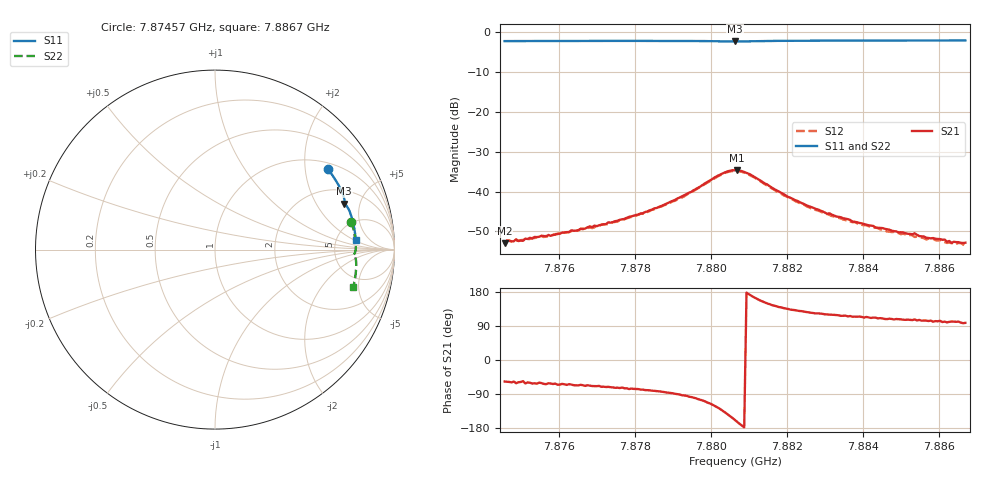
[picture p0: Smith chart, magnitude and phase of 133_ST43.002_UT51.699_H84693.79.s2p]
#  HZ  S  DB  R  50.00
! Rohde & Schwarz Vector Network Analyzer
! Rohde-Schwarz,ZNB20-2Port,1311601062101988,3.16
! Created: UTC 1/12/2023, 6:39:10 PM
! freq[Hz]  db:S11  ang:S11  db:S21  ang:S21  db:S12  ang:S12  db:S22  ang:S22
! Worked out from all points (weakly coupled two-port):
!   201 points, 7.87457 GHz to 7.8867 GHz, reference 50 ohm
!   highest |S21| = -34.62 dB at 7.88069 GHz (marker M1); lowest = -53.0 dB at 7.87457 GHz (marker M2)
!   lowest |S11| = -2.3 dB at 7.88063 GHz (marker M3), VSWR 7.46, Z = 145 + j178 ohm
!   |S11| at or under -10 dB: nowhere
!   |S22| runs from -2.3 to -2.0 dB; largest |S21 - S12| = 0.0012
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7.874569e9  -2.25 35.6  -53.02 -56.8  -52.95 -60.6  -2.20 11.5
7.87463e9  -2.25 35.4  -52.26 -57.3  -52.48 -58.6  -2.20 11.4
7.875054e9  -2.24 34.2  -52.34 -55.8  -52.14 -62.6  -2.19 10.4
7.875115e9  -2.24 34.1  -51.81 -61.9  -51.98 -61.2  -2.19 10.2
7.876631e9  -2.21 29.9  -49.42 -66.7  -49.27 -70.5  -2.14 6.6
7.877541e9  -2.20 27.4  -47.32 -73.1  -47.54 -75.4  -2.13 4.5
7.878633e9  -2.19 24.4  -43.87 -82.6  -43.87 -86.9  -2.11 1.9
7.8793e9  -2.21 22.5  -40.91 -93.9  -41.18 -96.8  -2.11 0.3
7.88027e9  -2.30 20.0  -35.57 -131.1  -35.81 -134.7  -2.21 -1.9
7.880634e9  -2.34 19.6  -34.67 -158.6  -34.76 -162.1  -2.25 -2.2
7.880695e9  -2.34 19.5  -34.62 -163.4  -34.81 -166.7  -2.25 -2.2
7.881059e9  -2.29 19.0  -35.82 170.0  -36.08 166.9  -2.20 -2.5
7.882029e9  -2.17 16.5  -41.32 134.8  -41.40 131.3  -2.07 -4.6
7.882696e9  -2.15 14.6  -44.06 124.3  -44.31 120.7  -2.04 -6.2
7.883728e9  -2.12 11.8  -47.53 114.3  -47.69 112.2  -2.00 -8.5
7.884698e9  -2.11 9.2  -49.56 109.0  -50.06 106.1  -1.99 -10.7
7.885365e9  -2.10 7.5  -50.46 107.0  -51.39 102.0  -1.97 -12.1
7.885668e9  -2.10 6.7  -51.59 104.0  -52.02 100.4  -1.97 -12.8
7.886154e9  -2.10 5.4  -52.02 101.4  -52.65 98.4  -1.96 -13.9
7.886336e9  -2.09 5.0  -52.90 101.6  -52.96 97.7  -1.97 -14.3
7.886578e9  -2.09 4.3  -52.83 98.6  -52.94 97.7  -1.97 -14.8
7.8867e9  -2.09 4.0  -52.81 98.0  -53.69 96.3  -1.96 -15.0
